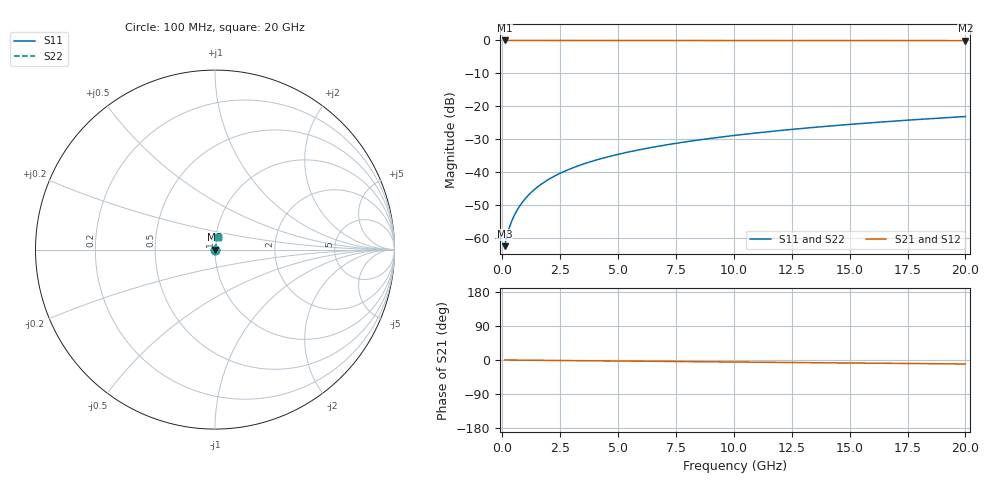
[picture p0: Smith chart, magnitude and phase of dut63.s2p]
! Touchstone file exported from HFSS 2026.1.0
!  File:  C:/ffzhzh/LocalFiles/Ansys_Project_Files/temp_train_TMRDL_63_1782881058_43084.aedt
!  Generated:  12:45:23 PM Jul  1, 2026
!  Design:  TMRDL
!  Project:  temp_train_TMRDL_63_1782881058_43084
! Variables:
!  h_bsmrdl = 2um
!  h_ox = 20um
!  h_rdl = 5um
!  h_sub = 80um
!  h_tmrdl = 5.49um
!  h_tsv = 80um
!  h_via = 3um
!  l_bsmrdl = 300um
!  l_sub = 551.84um
!  l_tmrdl = 151.84um
!  m_sub = 200um
!  pitch = 35.5um
!  r_tsv = 6um
!  s_tmrdl = 10um
!  w_bsmrdl = 18um
!  w_sub = 500um
!  w_tmrdl = 21.42um
!  x_tsv_center1 = 162.55um
!  x_tsv_center2 = 480.55um
!  x_tsv_center3 = 653.81um
!  x_tsv_center4 = 971.81um
!  x_tsv_center5 = 1145.07um
!  x_tsv_center6 = 1463.07um
# GHz S MA R 50.000000
! Terminal data exported
! Port[1] = TM_RDL1_1_T1
! Port[2] = TM_RDL1_1_T2
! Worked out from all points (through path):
!   200 points, 100 MHz to 20 GHz, reference 50 ohm
!   highest |S21| = -0.01 dB at 100 MHz (marker M1); lowest = -0.1 dB at 20 GHz (marker M2)
!   group delay of S21, straight-line fit = 1.45 ps
!   lowest |S11| = -62.4 dB at 100 MHz (marker M3), VSWR 1.00, Z = 50.1 + j0.0459 ohm
!   |S11| at or under -10 dB: start of sweep to end of sweep
!   |S22| runs from -62.4 to -23.1 dB; largest |S21 - S12| = 4.3e-15
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0.1  0.0007607 37.0  0.9994 -0.1  0.9994 -0.1  0.0007607 37.0
! Gamma 0 0 0 0
! Port Impedance 50 0 50 0
0.2  0.001093 52.8  0.9993 -0.1  0.9993 -0.1  0.001093 52.8
0.3  0.00144 60.9  0.9993 -0.2  0.9993 -0.2  0.00144 60.9
0.4  0.001794 66.0  0.9993 -0.2  0.9993 -0.2  0.001794 66.0
0.5  0.002155 69.6  0.9993 -0.3  0.9993 -0.3  0.002155 69.6
0.6  0.002522 72.2  0.9992 -0.3  0.9992 -0.3  0.002522 72.2
0.8  0.003269 75.6  0.9992 -0.4  0.9992 -0.4  0.003269 75.6
1.1  0.004405 78.5  0.9992 -0.6  0.9992 -0.6  0.004405 78.5
1.3  0.005166 79.6  0.9991 -0.7  0.9991 -0.7  0.005166 79.6
1.6  0.006308 80.7  0.9991 -0.9  0.9991 -0.9  0.006308 80.7
2.1  0.008199 81.6  0.9989 -1.1  0.9989 -1.1  0.008199 81.6
2.7  0.01044 82.1  0.9988 -1.5  0.9988 -1.5  0.01044 82.1
3.5  0.01338 82.2  0.9985 -1.9  0.9985 -1.9  0.01338 82.2
4.2  0.01592 82.1  0.9983 -2.3  0.9983 -2.3  0.01592 82.1
5  0.01877 82.0  0.9981 -2.7  0.9981 -2.7  0.01877 82.0
5.9  0.02196 81.8  0.9978 -3.2  0.9978 -3.2  0.02196 81.8
6.8  0.02511 81.6  0.9976 -3.6  0.9976 -3.6  0.02511 81.6
8.3  0.03034 81.1  0.9972 -4.4  0.9972 -4.4  0.03034 81.1
10.1  0.03657 80.5  0.9967 -5.3  0.9967 -5.3  0.03657 80.5
13.4  0.0479 79.3  0.9958 -7.1  0.9958 -7.1  0.0479 79.3
16.7  0.05912 77.9  0.9948 -8.8  0.9948 -8.8  0.05912 77.9
20  0.07022 76.5  0.9938 -10.5  0.9938 -10.5  0.07022 76.5
